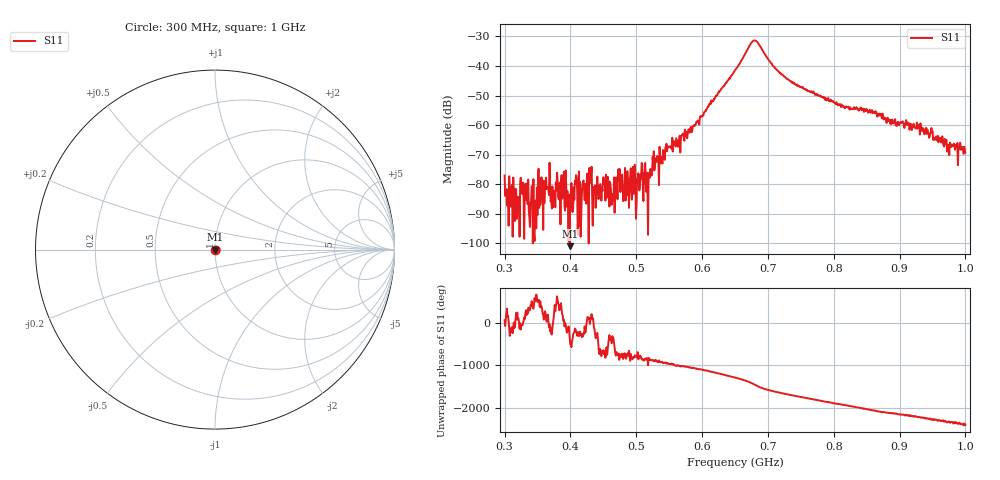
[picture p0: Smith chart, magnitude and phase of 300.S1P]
! C:\Users\rflab\Downloads\q2\300.S1P
! Touchstone 1.1 file saved by VNA.EXE V1.65 (www.ke5fx.com/gpib/readme.htm)
! 11/20/2024 11:16:20 AM
!  Source: HEWLETT PACKARD,8753D,0,6.14
!  Min freq: 3.000000E+008 Hz
!  Max freq: 1.000000E+009 Hz
!  Points: 801
!  Params: S21
# GHZ S MA R 50
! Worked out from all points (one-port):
!   801 points, 300 MHz to 1 GHz, reference 50 ohm
!   lowest |S11| = -100.9 dB at 398.9 MHz (marker M1), VSWR 1.00, Z = 50 + j8.8e-05 ohm
!   |S11| at or under -10 dB: start of sweep to end of sweep
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0.3  0.000141 52.8
0.3175  8.2e-05 -130.9
0.3875  5.7e-05 -159.1
0.398875  9e-06 5.6
0.42075  8.2e-05 99.1
0.428625  0.000189 113.1
0.4365  9e-05 -150.7
0.453125  5.3e-05 -107.5
0.465375  5.2e-05 -15.1
0.475  0.00018 -34.0
0.481125  6.2e-05 -10.8
0.503  0.000154 -144.3
0.51  8.9e-05 -141.8
0.517875  1.4e-05 78.1
0.528375  0.00021 -177.4
0.53625  0.000254 148.4
0.547625  0.000441 129.7
0.5625  0.000485 64.3
0.59225  0.001112 -1.8
0.65  0.00849 146.5
0.680625  0.02695 -27.6
0.710375  0.009261 176.1
0.7375  0.005228 86.9
0.825  0.001994 -163.7
0.9125  0.00111 -20.8
0.946625  0.000732 -95.4
0.9755  0.000311 -169.0
1  0.000342 112.0
